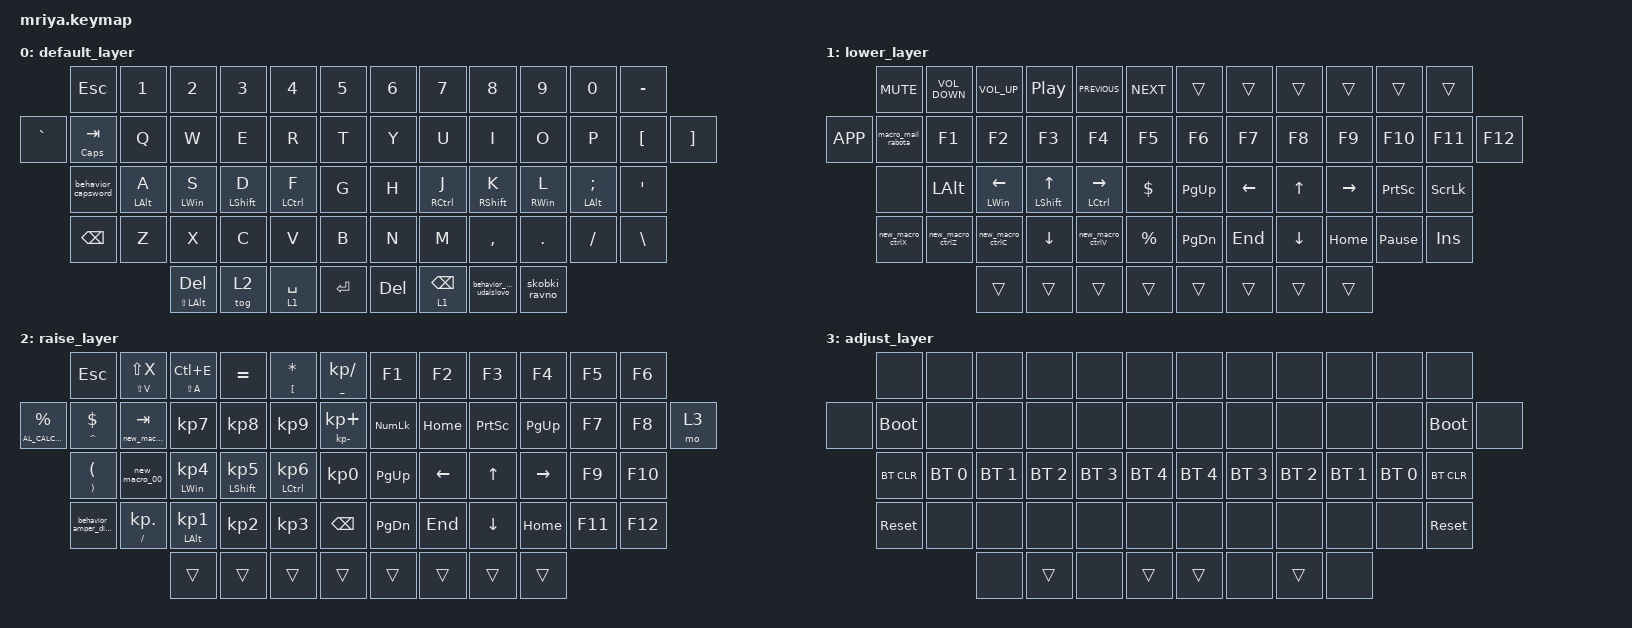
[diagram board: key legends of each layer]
/*
 * Copyright (c) 2023 Andrei Gaevskii
 *
 * SPDX-License-Identifier: MIT
 */

#include <behaviors.dtsi>
#include <dt-bindings/zmk/bt.h>
#include <dt-bindings/zmk/keys.h>
#include <dt-bindings/zmk/keys.h>

#define DEF 0
#define LWR 1
#define RSE 2
#define ADJ 3

&lt { quick_tap_ms = <200>; };

&mt {
    quick_tap_ms = <200>;
    tapping-term-ms = <150>;
};

/ {
    behaviors {
        homerow_hold: homerow_hold {
            compatible = "zmk,behavior-hold-tap";
            label = "HOMEROW_HOLD";
            bindings = <&kp>, <&kp>;

            #binding-cells = <2>;
            tapping-term-ms = <210>;
            flavor = "balanced";
            quick-tap-ms = <0>;
        };

        behavior_capsword: behavior_capsword {
            compatible = "zmk,behavior-caps-word";
            label = "BEHAVIOR_CAPSWORD";
            #binding-cells = <0>;
            continue-list = <A B C D E F G H I J K L M N O P Q R S T U V W X Y Z NUMBER_1 N1 NUMBER_2 N2 NUMBER_3 N3 NUMBER_4 N4 NUMBER_5 N5 NUMBER_6 N6 NUMBER_7 N7 NUMBER_8 N8 NUMBER_9 N9 NUMBER_0 N0 BACKSPACE BSPC DELETE DEL KP_NUMBER_1 KP_N1 KP_NUMBER_2 KP_N2 KP_NUMBER_3 KP_N3 KP_NUMBER_4 KP_N4 KP_NUMBER_5 KP_N5 KP_NUMBER_6 KP_N6 KP_NUMBER_7 KP_N7 KP_NUMBER_8 KP_N8 KP_NUMBER_9 KP_N9 KP_NUMBER_0 KP_N0 SEMI SQT COMMA DOT RIGHT_BRACKET LBKT LEFT_BRACKET RBKT GRAVE TILDE LESS_THAN PERIOD GREATER_THAN SEMICOLON COLON APOSTROPHE DOUBLE_QUOTES LEFT_BRACE RIGHT_BRACE>;
        };

        behavior_shift_sticky: behavior_shift_sticky {
            compatible = "zmk,behavior-hold-tap";
            label = "BEHAVIOR_SHIFT_STICKY";
            bindings = <&kt>, <&sk>;

            #binding-cells = <2>;
            tapping-term-ms = <200>;
            flavor = "balanced";
        };

        behavior_amper_diam: behavior_amper_diam {
            compatible = "zmk,behavior-tap-dance";
            label = "BEHAVIOR_AMPER_DIAM";
            #binding-cells = <0>;
            bindings = <&kp AMPERSAND>, <&new_macro_diam>;
        };

        behavior_del_raise_layer: behavior_del_raise_layer {
            compatible = "zmk,behavior-hold-tap";
            label = "BEHAVIOR_DEL_RAISE_LAYER";
            bindings = <&tog>, <&kp>;

            #binding-cells = <2>;
            tapping-term-ms = <200>;
        };

        behavior_rus_eng: behavior_rus_eng {
            compatible = "zmk,behavior-hold-tap";
            label = "BEHAVIOR_RUS_ENG";
            bindings = <&kp>, <&kp>;

            #binding-cells = <2>;
            tapping-term-ms = <210>;
            flavor = "balanced";
            quick-tap-ms = <0>;
        };

        behavior_zap_udalslovo: behavior_zap_udalslovo {
            compatible = "zmk,behavior-tap-dance";
            label = "BEHAVIOR_ZAP_UDALSLOVO";
            #binding-cells = <0>;
            bindings = <&kp LS(SLASH)>, <&macro_udal_slovo>;

            tapping-term-ms = <210>;
        };

        skobki_ravno: skobki_ravno {
            compatible = "zmk,behavior-tap-dance";
            label = "SKOBKI_RAVNO";
            #binding-cells = <0>;
            bindings = <&kp EQUAL>, <&new_macro_skobki>;
        };

        new_behavior_tab_skobki: new_behavior_tab_skobki {
            compatible = "zmk,behavior-hold-tap";
            label = "NEW_BEHAVIOR_TAB_SKOBKI";
            bindings = <&new_macro_skobki>, <&kp>;

            #binding-cells = <2>;
            tapping-term-ms = <210>;
            flavor = "balanced";
            quick-tap-ms = <0>;
        };
    };

    macros {
        new_macro_00: new_macro_00 {
            compatible = "zmk,behavior-macro";
            #binding-cells = <0>;
            bindings = <&kp N0 &kp N0>;
            label = "NEW_MACRO_00";
            wait-ms = <40>;
            tap-ms = <40>;
        };

        new_macro_diam: new_macro_diam {
            compatible = "zmk,behavior-macro";
            #binding-cells = <0>;
            bindings = <&kp N0 &kp N0 &kp D &kp N8 &kp LA(X) &kp LA(LSHIFT)>;
            label = "NEW_MACRO_DIAM";
            wait-ms = <40>;
            tap-ms = <40>;
        };

        new_macro_ctrlC: new_macro_ctrlC {
            compatible = "zmk,behavior-macro";
            #binding-cells = <0>;
            bindings = <&kp LC(C)>;
            label = "NEW_MACRO_CTRLC";
        };

        new_macro_ctrlV: new_macro_ctrlV {
            compatible = "zmk,behavior-macro";
            #binding-cells = <0>;
            bindings = <&kp LC(V)>;
            label = "NEW_MACRO_CTRLV";
        };

        new_macro_ctrlX: new_macro_ctrlX {
            compatible = "zmk,behavior-macro";
            #binding-cells = <0>;
            bindings = <&kp LC(X)>;
            label = "NEW_MACRO_CTRLX";
        };

        macro_mail_rabota: macro_mail_rabota {
            compatible = "zmk,behavior-macro";
            #binding-cells = <0>;
            bindings = <&kp A &kp A &kp L &kp O &kp N &kp Z &kp O &kp V &kp AT &kp A &kp O &kp D &kp I &kp M &kp DOT &kp R &kp U>;
            label = "MACRO_MAIL_RABOTA";
            wait-ms = <20>;
            tap-ms = <20>;
        };

        macro_udal_slovo: macro_udal_slovo {
            compatible = "zmk,behavior-macro";
            #binding-cells = <0>;
            bindings = <&kp LC(LEFT) &kp LC(LS(RIGHT)) &kp BACKSPACE>;
            label = "MACRO_UDAL_SLOVO";
        };

        new_macro_skobki: new_macro_skobki {
            compatible = "zmk,behavior-macro";
            #binding-cells = <0>;
            bindings = <&kp LEFT_PARENTHESIS &kp RIGHT_PARENTHESIS &kp LEFT>;
            label = "NEW_MACRO_SKOBKI";
        };

        new_macro_ctrlZ: new_macro_ctrlZ {
            compatible = "zmk,behavior-macro";
            #binding-cells = <0>;
            bindings = <&kp LC(Z)>;
            label = "NEW_MACRO_CTRLZ";
        };
    };

    combos { compatible = "zmk,combos"; };

    keymap {
        compatible = "zmk,keymap";

        default_layer {
            bindings = <
           &kp ESC             &kp N1                    &kp N2                              &kp N3                      &kp N4                 &kp N5     &kp N6   &kp N7                 &kp N8                       &kp N9                     &kp N0                       &kp MINUS
&kp GRAVE  &mt CAPS TAB        &kp Q                     &kp W                               &kp E                       &kp R                  &kp T      &kp Y    &kp U                  &kp I                        &kp O                      &kp P                        &kp LBKT   &kp RIGHT_BRACKET
           &behavior_capsword  &homerow_hold LEFT_ALT A  &homerow_hold LEFT_WIN S            &homerow_hold LEFT_SHIFT D  &homerow_hold LCTRL F  &kp G      &kp H    &homerow_hold RCTRL J  &homerow_hold RIGHT_SHIFT K  &homerow_hold RIGHT_WIN L  &homerow_hold LEFT_ALT SEMI  &kp SQT
           &kp BACKSPACE       &kp Z                     &kp X                               &kp C                       &kp V                  &kp B      &kp N    &kp M                  &kp COMMA                    &kp DOT                    &kp FSLH                     &kp BSLH
                                                         &behavior_rus_eng LS(LEFT_ALT) DEL  &tog 2                      &lt 1 SPACE            &kp RET    &kp DEL  &lt 1 BACKSPACE        &behavior_zap_udalslovo      &skobki_ravno
            >;
        };

        lower_layer {
            bindings = <
           &kp C_MUTE          &kp C_VOLUME_DOWN  &kp C_VOLUME_UP              &kp C_PLAY_PAUSE             &kp C_PREVIOUS             &kp C_NEXT     &trans         &trans    &trans    &trans     &trans           &trans
&kp K_APP  &macro_mail_rabota  &kp F1             &kp F2                       &kp F3                       &kp F4                     &kp F5         &kp F6         &kp F7    &kp F8    &kp F9     &kp F10          &kp F11         &kp F12
           &none               &kp LEFT_ALT       &homerow_hold LEFT_WIN LEFT  &homerow_hold LEFT_SHIFT UP  &homerow_hold LCTRL RIGHT  &kp DOLLAR     &kp PAGE_UP    &kp LEFT  &kp UP    &kp RIGHT  &kp PRINTSCREEN  &kp SCROLLLOCK
           &new_macro_ctrlX    &new_macro_ctrlZ   &new_macro_ctrlC             &kp DOWN                     &new_macro_ctrlV           &kp PERCENT    &kp PAGE_DOWN  &kp END   &kp DOWN  &kp HOME   &kp PAUSE_BREAK  &kp INSERT
                                                  &trans                       &trans                       &trans                     &trans         &trans         &trans    &trans    &trans
            >;
        };

        raise_layer {
            bindings = <
                             &kp ESCAPE                              &mt LS(V) LS(X)                 &mt LS(A) LC(E)               &kp EQUAL                       &mt LBKT ASTRK             &mt UNDERSCORE KP_SLASH    &kp F1      &kp F2    &kp F3     &kp F4     &kp F5   &kp F6
&mt C_AL_CALCULATOR PERCENT  &mt CARET DOLLAR                        &new_behavior_tab_skobki 0 TAB  &kp KP_N7                     &kp KP_N8                       &kp KP_N9                  &mt KP_MINUS KP_PLUS       &kp KP_NUM  &kp HOME  &kp PSCRN  &kp PG_UP  &kp F7   &kp F8   &mo 3
                             &mt RIGHT_PARENTHESIS LEFT_PARENTHESIS  &new_macro_00                   &homerow_hold LEFT_WIN KP_N4  &homerow_hold LEFT_SHIFT KP_N5  &homerow_hold LCTRL KP_N6  &kp KP_N0                  &kp PG_UP   &kp LEFT  &kp UP     &kp RIGHT  &kp F9   &kp F10
                             &behavior_amper_diam                    &mt FSLH KP_DOT                 &homerow_hold LEFT_ALT KP_N1  &kp KP_N2                       &kp KP_N3                  &kp BACKSPACE              &kp PG_DN   &kp END   &kp DOWN   &kp HOME   &kp F11  &kp F12
                                                                                                     &trans                        &trans                          &trans                     &trans                     &trans      &trans    &trans     &trans
            >;
        };

        adjust_layer {
            bindings = <
       &none        &none         &none         &none         &none         &none           &none         &none         &none         &none         &none         &none
&none  &bootloader  &none         &none         &none         &none         &none           &none         &none         &none         &none         &none         &bootloader  &none
       &bt BT_CLR   &bt BT_SEL 0  &bt BT_SEL 1  &bt BT_SEL 2  &bt BT_SEL 3  &bt BT_SEL 4    &bt BT_SEL 4  &bt BT_SEL 3  &bt BT_SEL 2  &bt BT_SEL 1  &bt BT_SEL 0  &bt BT_CLR
       &sys_reset   &none         &none         &none         &none         &none           &none         &none         &none         &none         &none         &sys_reset
                                  &none         &trans        &none         &trans          &trans        &none         &trans        &none
            >;
        };
    };
};
